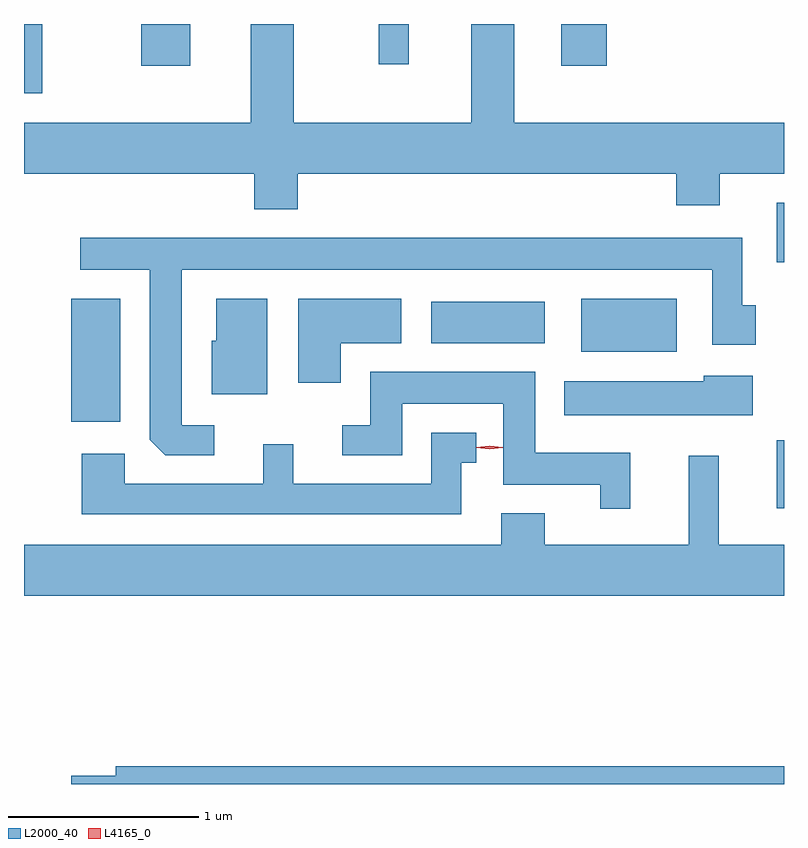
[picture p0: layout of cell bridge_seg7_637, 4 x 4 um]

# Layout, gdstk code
import gdstk
lib = gdstk.Library(unit=1e-6, precision=1e-09)
def R(c, l, rs):  # rectangles x0, y0, x1, y1
    for r in rs: c.add(gdstk.rectangle(r[:2], r[2:], *l))
def P(c, l, *ps):  # polygons
    for p in ps: c.add(gdstk.Polygon(p, *l))
L2000_40 = (2000, 40)
L4165_0 = (4165, 0)

bridge_seg7_637 = lib.new_cell('bridge_seg7_637')
R(bridge_seg7_637, L2000_40, [(864.631,1679.256,864.668,1679.614), (860.916,1679.711,861.174,1680.359), (863.601,1680.081,864.104,1680.359), (862.811,1680.126,863.409,1680.344), (864.631,1680.551,864.668,1680.864), (860.668,1681.441,860.764,1681.805), (861.286,1681.586,861.544,1681.805), (863.496,1681.586,863.734,1681.805), (862.536,1681.593,862.694,1681.805)])
P(bridge_seg7_637, L2000_40, [(862.109,1681.016),(864.101,1681.016),(864.101,1680.851),(864.329,1680.851),(864.329,1681.016),(864.668,1681.016),(864.668,1681.284),(863.249,1681.284),(863.249,1681.804),(863.021,1681.804),(863.021,1681.284),(862.089,1681.284),(862.089,1681.805),(861.861,1681.805),(861.861,1681.284),(860.668,1681.284),(860.668,1681.016),(861.881,1681.016),(861.881,1680.831),(862.109,1680.831)],
  [(861.668,1679.694),(861.499,1679.694),(861.499,1680.511),(864.291,1680.511),(864.291,1680.116),(864.519,1680.116),(864.519,1680.324),(864.449,1680.324),(864.449,1680.679),(860.963,1680.679),(860.963,1680.511),(861.331,1680.511),(861.331,1679.617),(861.412,1679.536),(861.668,1679.536)],
  [(861.949,1680.359),(861.681,1680.359),(861.681,1680.139),(861.656,1680.139),(861.656,1679.856),(861.949,1679.856)],
  [(862.334,1680.126),(862.654,1680.126),(862.654,1680.359),(862.111,1680.359),(862.111,1679.916),(862.334,1679.916)],
  [(863.859,1679.549),(863.359,1679.549),(863.359,1679.974),(862.491,1679.974),(862.491,1679.694),(862.343,1679.694),(862.343,1679.536),(862.659,1679.536),(862.659,1679.806),(863.191,1679.806),(863.191,1679.381),(863.701,1679.381),(863.701,1679.253),(863.859,1679.253)],
  [(864.504,1679.954),(864.246,1679.954),(864.246,1679.924),(863.511,1679.924),(863.511,1679.746),(864.504,1679.746)],
  [(862.969,1679.496),(863.048,1679.496),(863.048,1679.654),(862.811,1679.654),(862.811,1679.384),(862.084,1679.384),(862.084,1679.593),(861.926,1679.593),(861.926,1679.384),(861.199,1679.384),(861.199,1679.544),(860.971,1679.544),(860.971,1679.226),(862.969,1679.226)],
  [(864.668,1679.064),(864.324,1679.064),(864.324,1679.533),(864.166,1679.533),(864.166,1679.064),(863.409,1679.064),(863.409,1679.229),(863.181,1679.229),(863.181,1679.064),(860.668,1679.064),(860.668,1678.796),(864.668,1678.796)],
  [(864.668,1677.899),(861.151,1677.899),(861.151,1677.849),(860.916,1677.849),(860.916,1677.805),(864.668,1677.805)])
P(bridge_seg7_637, L4165_0, [(863.118,1679.567),(863.049,1679.576),(863.049,1679.576),(863.049,1679.577),(863.118,1679.586),(863.188,1679.578),(863.188,1679.577),(863.188,1679.576)])

lib.write_gds('bridge_seg7_637.gds')
